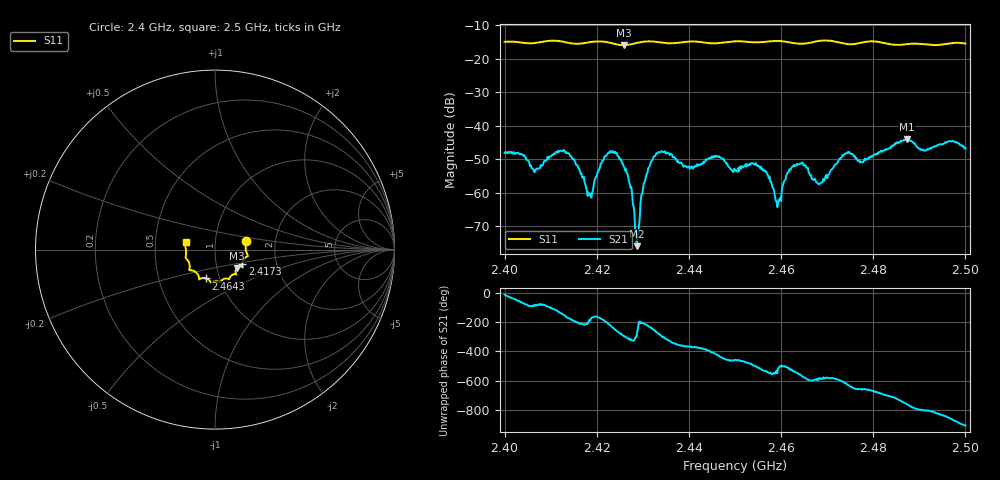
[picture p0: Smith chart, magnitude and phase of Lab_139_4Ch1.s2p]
# Hz S RI R 50
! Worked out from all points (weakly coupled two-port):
!   601 points, 2.4 GHz to 2.5 GHz, reference 50 ohm
!   highest |S21| = -43.97 dB at 2.4873 GHz (marker M1); lowest = -75.9 dB at 2.4287 GHz (marker M2)
!   lowest |S11| = -15.9 dB at 2.4258 GHz (marker M3), VSWR 1.38, Z = 62.3 - j13.3 ohm
!   |S11| at or under -10 dB: start of sweep to end of sweep
!   S12 and S22 are empty: the file has one direction only
!   S11 on the Smith chart (normalised r, x): 2.4 GHz: 1.41, +0.14; 2.4173 GHz: 1.34, -0.22; 2.4643 GHz: 0.86, -0.28; 2.5 GHz: 0.72, +0.06
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2.4e9  0.1729 0.0489  0.00389 -0.000721  0 0  0 0
2.406667e9  0.1722 -0.00623  0.000341 -0.00219  0 0  0 0
2.412833e9  0.1749 -0.0406  -0.00381 -0.00215  0 0  0 0
2.416667e9  0.1525 -0.0742  -0.00168 0.000988  0 0  0 0
2.417333e9  0.1518 -0.0815  -0.00115 0.000907  0 0  0 0
2.418667e9  0.1527 -0.0929  -0.000972 4.42e-06  0 0  0 0
2.423e9  0.1455 -0.094  -0.00302 0.00292  0 0  0 0
2.425833e9  0.1219 -0.1037  0.000954 0.0023  0 0  0 0
2.427167e9  0.1158 -0.1156  0.00105 0.000853  0 0  0 0
2.428667e9  0.1149 -0.1291  7.72e-05 0.00014  0 0  0 0
2.430667e9  0.1184 -0.1383  -0.0014 0.00104  0 0  0 0
2.433333e9  0.113 -0.1373  0.000528 0.00402  0 0  0 0
2.45e9  0.0289 -0.1808  -0.000299 -0.00211  0 0  0 0
2.455167e9  0.000395 -0.1769  -0.00226 -0.00111  0 0  0 0
2.4595e9  -0.0233 -0.1836  -0.000708 -0.000349  0 0  0 0
2.461667e9  -0.0288 -0.1748  -0.00198 -0.000695  0 0  0 0
2.464333e9  -0.0498 -0.1606  -0.00252 0.00105  0 0  0 0
2.466667e9  -0.0759 -0.1593  -0.000811 0.0014  0 0  0 0
2.474333e9  -0.1001 -0.1326  -0.000225 0.00393  0 0  0 0
2.483333e9  -0.1407 -0.09  0.0044 0.00119  0 0  0 0
2.487333e9  -0.1573 -0.0537  0.00463 -0.00432  0 0  0 0
2.5e9  -0.1639 0.0425  -0.00459 0.000565  0 0  0 0
